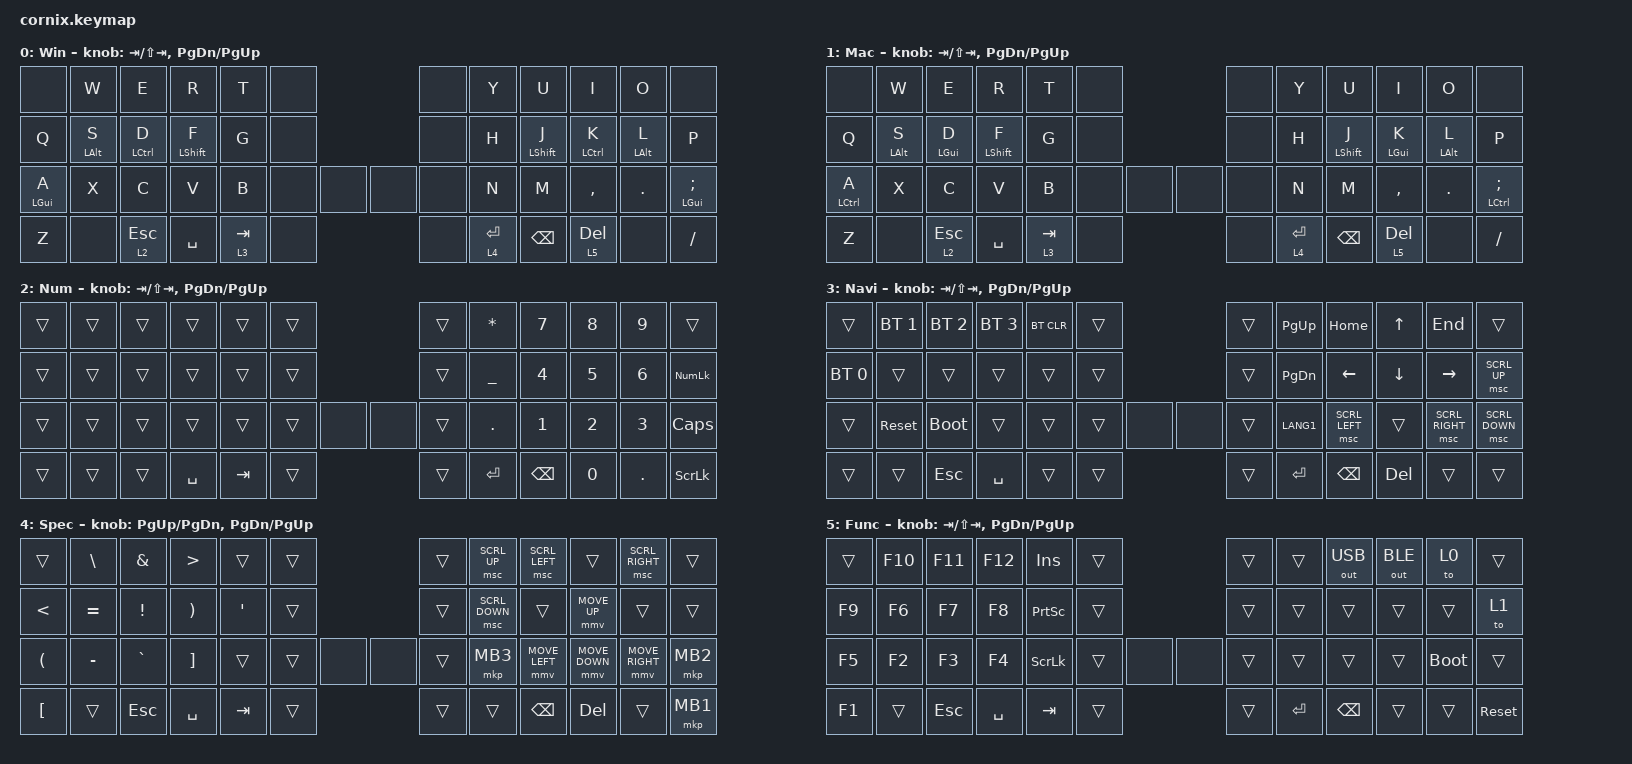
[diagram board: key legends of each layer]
#include "zmk-helpers/helper.h"
#include "includes/cornix54.h"

#include <behaviors.dtsi>
#include <dt-bindings/zmk/bt.h>
#include <dt-bindings/zmk/keys.h>
#include <dt-bindings/zmk/ext_power.h>

#include <dt-bindings/zmk/outputs.h>
#include <dt-bindings/zmk/mouse.h>

/ {
    macros {
        ZMK_MACRO(sql_select,  wait-ms = <30>; tap-ms = <40>; bindings = <&kp S &kp E &kp L &kp E &kp C &kp T &kp SPACE &kp STAR>;)
        ZMK_MACRO(sql_from,    wait-ms = <30>; tap-ms = <40>; bindings = <&kp F &kp R &kp O &kp M>;)
        ZMK_MACRO(sql_where,   wait-ms = <30>; tap-ms = <40>; bindings = <&kp W &kp H &kp E &kp R &kp E &kp SPACE &kp N1 &kp SPACE &kp EQUAL &kp SPACE &kp N1 &kp ENTER &kp A &kp N &kp D &kp SPACE>;)
        ZMK_MACRO(sql_order,   wait-ms = <30>; tap-ms = <40>; bindings = <&kp O &kp R &kp D &kp E &kp R &kp SPACE &kp B &kp Y>;)
    };

    combos {
        compatible = "zmk,combos";
        combo_b                 { timeout-ms = <50>; key-positions = <33 34>; bindings = <&kp B>; };
        combo_caps              { timeout-ms = <50>; key-positions = <12 1>; bindings = <&kp CAPS>; };
        combo_hangle            { timeout-ms = <50>; key-positions = <10 23>; bindings = <&kp LANG1>; };

        combo_select            { timeout-ms = <50>; key-positions = <34 35>; bindings = <&sql_select>; };
        combo_from              { timeout-ms = <50>; key-positions = <35 36>; bindings = <&sql_from>; };
        combo_where             { timeout-ms = <50>; key-positions = <8 9>; bindings = <&sql_where>; };
        combo_order             { timeout-ms = <50>; key-positions = <9 10>; bindings = <&sql_order>; };

        combo_win_undo          { timeout-ms = <50>; key-positions = <38 25>; bindings = <&kp LC(Z)>; layers = <0>; };
        combo_win_redo          { timeout-ms = <50>; key-positions = <38 25 26>; bindings = <&kp LC(LS(Z))>; layers = <0>; };
        combo_win_cut           { timeout-ms = <50>; key-positions = <25 26>; bindings = <&kp LC(X)>; layers = <0>; };
        combo_win_copy          { timeout-ms = <50>; key-positions = <26 27>; bindings = <&kp LC(C)>; layers = <0>; };
        combo_win_paste         { timeout-ms = <50>; key-positions = <27 28>; bindings = <&kp LC(V)>; layers = <0>; };
        combo_win_natural_paste { timeout-ms = <50>; key-positions = <26 27 28>; bindings = <&kp LC(LA(V))>; layers = <0>; };

        combo_mac_undo          { timeout-ms = <50>; key-positions = <38 25>; bindings = <&kp LG(Z)>; layers = <1>; };
        combo_mac_redo          { timeout-ms = <50>; key-positions = <24 25 26>; bindings = <&kp LG(LS(Z))>; layers = <1>; };
        combo_mac_cut           { timeout-ms = <50>; key-positions = <25 26>; bindings = <&kp LG(X)>; layers = <1>; };
        combo_mac_copy          { timeout-ms = <50>; key-positions = <26 27>; bindings = <&kp LG(C)>; layers = <1>; };
        combo_mac_paste         { timeout-ms = <50>; key-positions = <27 28>; bindings = <&kp LG(V)>; layers = <1>; };
        combo_mac_natural_paste { timeout-ms = <50>; key-positions = <26 27 28>; bindings = <&kp LG(LA(V))>; layers = <1>; };
    };

    behaviors {
        hm: balanced_homerow_mods {
            compatible = "zmk,behavior-hold-tap";
            #binding-cells = <2>;
            tapping-term-ms = <200>;
            quick-tap-ms = <0>;
            flavor = "balanced";
            bindings = <&kp>, <&kp>;
        };
    };

    keymap {
        // 실제키맵
        // 0   1   2   3   4   5           6   7   8   9   10  11
        // 12  13  14  15  16  17          18  19  20  21  22  23
        // 24  25  26  27  28  29  30  31  32  33  34  35  36  37
        // 38  39  40 |41  42  43|        |44  45  46| 47  48  49
        // 사용범위
        // -   O   O   O   O   -           -   O   O   O   O   -
        // O   O   O   O   O   -           -   O   O   O   O   O 
        // O   O   O   O   O   -   -   -   -   O   O   O   O   O 
        // O   -   X  |X   X   - |        |-   X   X | X   -   O 
        compatible = "zmk,keymap";
        default_layer { // win
            display-name = "Win";
            bindings = <
            //╭──────────────┬──────────────┬──────────────┬──────────────┬──────────────┬────────────╮                               ╭──────────────┬────────────────┬─────────────────┬─────────────────┬────────────────┬────────────────╮
                &none          &kp W          &kp E          &kp R          &kp T          &none                                        &none          &kp Y            &kp U             &kp I             &kp O            &none
            //├──────────────┼──────────────┼──────────────┼──────────────┼──────────────┼────────────┤                               ├──────────────┼────────────────┼─────────────────┼─────────────────┼────────────────┼────────────────┤
                &kp Q          &hm LALT S     &hm LCTRL D    &hm LSHFT F    &kp G          &none                                        &none          &kp H            &hm LSHFT J       &hm LCTRL K       &hm LALT L       &kp P
            //├──────────────┼──────────────┼──────────────┼──────────────┼──────────────┼────────────┼────────────╮   ╭──────────────┼──────────────┼────────────────┼─────────────────┼─────────────────┼────────────────┼────────────────┤
                &hm LGUI A     &kp X          &kp C          &kp V          &kp B          &none       &none             &none          &none          &kp N            &kp M             &kp COMMA         &kp DOT          &hm LGUI SEMI
            //├──────────────┴──────────────┼──────────────┼──────────────┼──────────────┼────────────┼────────────╯   ╰──────────────┼──────────────┼────────────────┼─────────────────┼─────────────────┼────────────────┼────────────────┤
                &kp Z          &none          &lt 2 ESC      &kp SPACE      &lt 3 TAB      &none                                        &none          &lt 4 ENTER      &kp BSPC          &lt 5 DEL         &none            &kp SLASH
            //╰──────────────┴──────────────┴──────────────┴──────────────┴──────────────┴────────────╯                               ╰──────────────┴────────────────┴─────────────────┴─────────────────┴────────────────┴────────────────╯
            >;
            sensor-bindings = <&inc_dec_kp TAB LS(TAB) &inc_dec_kp PG_DN PG_UP>;
        };

        mac_layer { // mac
            display-name = "Mac";
            bindings = <
            //╭──────────────┬──────────────┬──────────────┬──────────────┬──────────────┬────────────╮                               ╭──────────────┬────────────────┬─────────────────┬─────────────────┬────────────────┬────────────────╮
                &none          &kp W          &kp E          &kp R          &kp T          &none                                        &none          &kp Y            &kp U             &kp I             &kp O            &none
            //├──────────────┼──────────────┼──────────────┼──────────────┼──────────────┼────────────┤                               ├──────────────┼────────────────┼─────────────────┼─────────────────┼────────────────┼────────────────┤
                &kp Q          &hm LALT S     &hm LGUI D     &hm LSHFT F    &kp G          &none                                        &none          &kp H            &hm LSHFT J       &hm LGUI K        &hm LALT L       &kp P
            //├──────────────┼──────────────┼──────────────┼──────────────┼──────────────┼────────────┼────────────╮   ╭──────────────┼──────────────┼────────────────┼─────────────────┼─────────────────┼────────────────┼────────────────┤
                &hm LCTRL A    &kp X          &kp C          &kp V          &kp B          &none        &none            &none          &none          &kp N            &kp M             &kp COMMA         &kp DOT          &hm LCTRL SEMI
            //├──────────────┼──────────────┼──────────────┼──────────────┼──────────────┼────────────┼────────────╯   ╰──────────────┼──────────────┼────────────────┼─────────────────┼─────────────────┼────────────────┼────────────────┤
                &kp Z          &none          &lt 2 ESC      &kp SPACE      &lt 3 TAB      &none                                        &none          &lt 4 ENTER      &kp BSPC          &lt 5 DEL         &none            &kp SLASH
            //╰──────────────┴──────────────┴──────────────┴──────────────┴──────────────┴────────────╯                               ╰──────────────┴────────────────┴─────────────────┴─────────────────┴────────────────┴────────────────╯
            >;
            sensor-bindings = <&inc_dec_kp TAB LS(TAB) &inc_dec_kp PG_DN PG_UP>;
        };

        num_layer { // 2 left first
            display-name = "Num";
            bindings = <
            //╭──────────────┬──────────────┬──────────────┬──────────────┬──────────────┬────────────╮                               ╭──────────────┬────────────────┬─────────────────┬─────────────────┬────────────────┬────────────────╮
                &trans         &trans         &trans         &trans         &trans         &trans                                       &trans         &kp STAR         &kp N7            &kp N8            &kp N9           &trans
            //├──────────────┼──────────────┼──────────────┼──────────────┼──────────────┼────────────┤                               ├──────────────┼────────────────┼─────────────────┼─────────────────┼────────────────┼────────────────┤
                &trans         &trans         &trans         &trans         &trans         &trans                                       &trans         &kp UNDER        &kp N4            &kp N5            &kp N6           &kp KP_NUM
            //├──────────────┼──────────────┼──────────────┼──────────────┼──────────────┼────────────┼────────────╮   ╭──────────────┼──────────────┼────────────────┼─────────────────┼─────────────────┼────────────────┼────────────────┤
                &trans         &trans         &trans         &trans         &trans         &trans       &none            &none          &trans         &kp DOT          &kp N1            &kp N2            &kp N3           &kp CAPS
            //├──────────────┼──────────────┼──────────────┼──────────────┼──────────────┼────────────┼────────────╯   ╰──────────────┼──────────────┼────────────────┼─────────────────┼─────────────────┼────────────────┼────────────────┤
                &trans         &trans         &trans         &kp SPACE      &kp TAB        &trans                                       &trans         &kp ENTER        &kp BSPC          &kp N0            &kp DOT          &kp SLCK
            //╰──────────────┴──────────────┴──────────────┴──────────────┴──────────────┴────────────╯                               ╰──────────────┴────────────────┴─────────────────┴─────────────────┴────────────────┴────────────────╯
            >;
            sensor-bindings = <&inc_dec_kp TAB LS(TAB) &inc_dec_kp PG_DN PG_UP>;
        };

        nav_layer { // 3 left last
            display-name = "Navi";
            bindings = <
            //╭──────────────┬──────────────┬──────────────┬──────────────┬──────────────┬────────────╮                               ╭──────────────┬────────────────┬─────────────────┬─────────────────┬────────────────┬────────────────╮
                &trans         &bt BT_SEL 1   &bt BT_SEL 2   &bt BT_SEL 3   &bt BT_CLR     &trans                                       &trans         &kp PG_UP        &kp HOME          &kp UP            &kp END          &trans
            //├──────────────┼──────────────┼──────────────┼──────────────┼──────────────┼────────────┤                               ├──────────────┼────────────────┼─────────────────┼─────────────────┼────────────────┼────────────────┤
                &bt BT_SEL 0   &trans         &trans         &trans         &trans         &trans                                       &trans         &kp PG_DN        &kp LEFT          &kp DOWN          &kp RIGHT        &msc SCRL_UP
            //├──────────────┼──────────────┼──────────────┼──────────────┼──────────────┼────────────┼────────────╮   ╭──────────────┼──────────────┼────────────────┼─────────────────┼─────────────────┼────────────────┼────────────────┤
                &trans         &sys_reset     &bootloader    &trans         &trans         &trans       &none            &none          &trans         &kp LANG1        &msc SCRL_LEFT    &trans            &msc SCRL_RIGHT  &msc SCRL_DOWN
            //├──────────────┼──────────────┼──────────────┼──────────────┼──────────────┼────────────┼────────────╯   ╰──────────────┼──────────────┼────────────────┼─────────────────┼─────────────────┼────────────────┼────────────────┤
                &trans         &trans         &kp ESC        &kp SPACE      &trans         &trans                                       &trans         &kp ENTER        &kp BSPC          &kp DEL           &trans           &trans
            //╰──────────────┴──────────────┴──────────────┴──────────────┴──────────────┴────────────╯                               ╰──────────────┴────────────────┴─────────────────┴─────────────────┴────────────────┴────────────────╯
            >;
            sensor-bindings = <&inc_dec_kp TAB LS(TAB) &inc_dec_kp PG_DN PG_UP>;
        };

        spec_layer { // 4 right first
            display-name = "Spec";
            bindings = <
            //╭──────────────┬──────────────┬──────────────┬──────────────┬──────────────┬────────────╮                               ╭──────────────┬────────────────┬─────────────────┬─────────────────┬────────────────┬────────────────╮
                &trans         &kp BSLH       &kp AMPS       &kp GT         &trans         &trans                                       &trans         &msc SCRL_UP     &msc SCRL_LEFT    &trans           &msc SCRL_RIGHT   &trans
            //├──────────────┼──────────────┼──────────────┼──────────────┼──────────────┼────────────┤                               ├──────────────┼────────────────┼─────────────────┼─────────────────┼────────────────┼────────────────┤
                &kp LT         &kp EQUAL      &kp EXCL       &kp RPAR       &kp SQT        &trans                                       &trans         &msc SCRL_DOWN   &trans            &mmv MOVE_UP     &trans            &trans
            //├──────────────┼──────────────┼──────────────┼──────────────┼──────────────┼────────────┼────────────╮   ╭──────────────┼──────────────┼────────────────┼─────────────────┼─────────────────┼────────────────┼────────────────┤
                &kp LPAR       &kp MINUS      &kp GRAVE      &kp RBKT       &trans         &trans       &none            &none          &trans         &mkp MB3         &mmv MOVE_LEFT    &mmv MOVE_DOWN   &mmv MOVE_RIGHT   &mkp MB2
            //├──────────────┼──────────────┼──────────────┼──────────────┼──────────────┼────────────┼────────────╯   ╰──────────────┼──────────────┼────────────────┼─────────────────┼─────────────────┼────────────────┼────────────────┤
                &kp LBKT       &trans         &kp ESC        &kp SPACE      &kp TAB        &trans                                       &trans         &trans           &kp BSPC          &kp DEL          &trans            &mkp MB1
            //╰──────────────┴──────────────┴──────────────┴──────────────┴──────────────┴────────────╯                               ╰──────────────┴────────────────┴─────────────────┴─────────────────┴────────────────┴────────────────╯
            >;
            sensor-bindings = <&inc_dec_kp PG_UP PG_DN &inc_dec_kp PG_DN PG_UP>;
        };

        func_layer { // 5 right last
            display-name = "Func";
            bindings = <
            //╭──────────────┬──────────────┬──────────────┬──────────────┬──────────────┬────────────╮                               ╭──────────────┬────────────────┬─────────────────┬─────────────────┬────────────────┬────────────────╮
                &trans         &kp F10        &kp F11        &kp F12        &kp INS        &trans                                       &trans         &trans           &out OUT_USB      &out OUT_BLE      &to 0            &trans
            //├──────────────┼──────────────┼──────────────┼──────────────┼──────────────┼────────────┤                               ├──────────────┼────────────────┼─────────────────┼─────────────────┼────────────────┼────────────────┤
                &kp F9         &kp F6         &kp F7         &kp F8         &kp PSCRN      &trans                                       &trans         &trans           &trans            &trans            &trans           &to 1
            //├──────────────┼──────────────┼──────────────┼──────────────┼──────────────┼────────────┼────────────╮   ╭──────────────┼──────────────┼────────────────┼─────────────────┼─────────────────┼────────────────┼────────────────┤
                &kp F5         &kp F2         &kp F3         &kp F4         &kp SLCK       &trans       &none            &none          &trans         &trans           &trans            &trans            &bootloader      &trans
            //├──────────────┼──────────────┼──────────────┼──────────────┼──────────────┼────────────┼────────────╯   ╰──────────────┼──────────────┼────────────────┼─────────────────┼─────────────────┼────────────────┼────────────────┤
                &kp F1         &trans         &kp ESC        &kp SPACE      &kp TAB        &trans                                       &trans         &kp ENTER        &kp BSPC          &trans            &trans           &sys_reset
            //╰──────────────┴──────────────┴──────────────┴──────────────┴──────────────┴────────────╯                               ╰──────────────┴────────────────┴─────────────────┴─────────────────┴────────────────┴────────────────╯
            >;
            sensor-bindings = <&inc_dec_kp TAB LS(TAB) &inc_dec_kp PG_DN PG_UP>;
        };
    };
};
